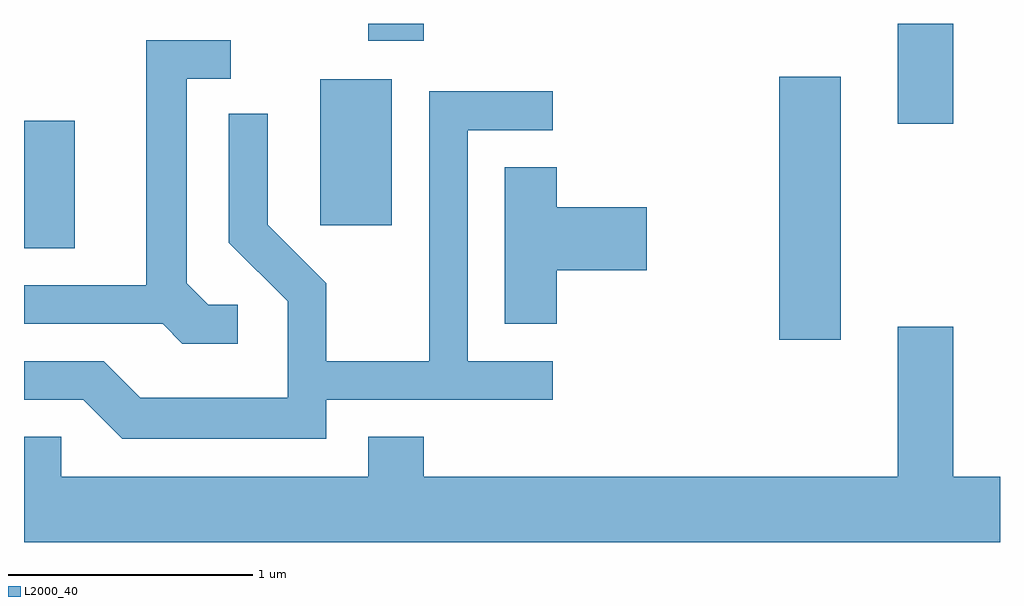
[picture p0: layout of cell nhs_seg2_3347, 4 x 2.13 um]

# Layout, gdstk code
import gdstk
lib = gdstk.Library(unit=1e-6, precision=1e-09)
def R(c, l, rs):  # rectangles x0, y0, x1, y1
    for r in rs: c.add(gdstk.rectangle(r[:2], r[2:], *l))
def P(c, l, *ps):  # polygons
    for p in ps: c.add(gdstk.Polygon(p, *l))
L2000_40 = (2000, 40)

nhs_seg2_3347 = lib.new_cell('nhs_seg2_3347')
R(nhs_seg2_3347, L2000_40, [(286.706,1022.506,286.959,1023.584), (283.611,1022.881,283.819,1023.404), (284.826,1022.976,285.119,1023.574), (287.191,1023.391,287.419,1023.802), (285.021,1023.731,285.249,1023.802)])
P(nhs_seg2_3347, L2000_40, [(284.488,1022.649),(284.367,1022.649),(284.279,1022.737),(284.279,1023.576),(284.458,1023.576),(284.458,1023.734),(284.111,1023.734),(284.111,1022.729),(283.611,1022.729),(283.611,1022.571),(284.179,1022.571),(284.259,1022.491),(284.488,1022.491)],
  [(284.849,1022.261),(285.778,1022.261),(285.778,1022.419),(285.429,1022.419),(285.429,1023.366),(285.778,1023.366),(285.778,1023.524),(285.271,1023.524),(285.271,1022.419),(284.849,1022.419),(284.849,1022.737),(284.609,1022.977),(284.609,1023.433),(284.451,1023.433),(284.451,1022.904),(284.691,1022.664),(284.691,1022.269),(284.087,1022.269),(283.937,1022.419),(283.611,1022.419),(283.611,1022.261),(283.854,1022.261),(284.014,1022.101),(284.849,1022.101)],
  [(285.794,1022.791),(286.164,1022.791),(286.164,1023.049),(285.794,1023.049),(285.794,1023.214),(285.581,1023.214),(285.581,1022.571),(285.794,1022.571)],
  [(287.611,1021.944),(287.419,1021.944),(287.419,1022.559),(287.191,1022.559),(287.191,1021.944),(285.249,1021.944),(285.249,1022.109),(285.021,1022.109),(285.021,1021.944),(283.764,1021.944),(283.764,1022.109),(283.611,1022.109),(283.611,1021.676),(287.611,1021.676)])

lib.write_gds('nhs_seg2_3347.gds')
